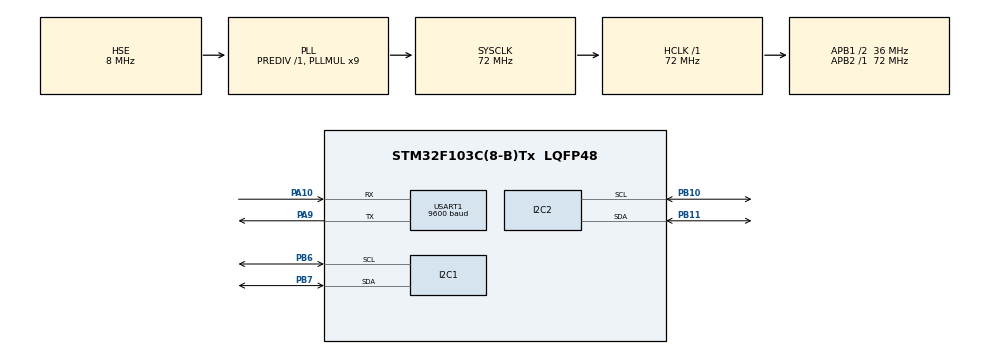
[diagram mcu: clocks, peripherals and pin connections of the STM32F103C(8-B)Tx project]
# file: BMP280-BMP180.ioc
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Mcu.Family=STM32F1
Mcu.Name=STM32F103C(8-B)Tx
Mcu.Package=LQFP48
NVIC.PriorityGroup=NVIC_PRIORITYGROUP_4
PA10.Mode=Asynchronous
PA10.Signal=USART1_RX
PA13.Mode=Serial_Wire
PA13.Signal=SYS_JTMS-SWDIO
PA14.Mode=Serial_Wire
PA14.Signal=SYS_JTCK-SWCLK
PA9.Mode=Asynchronous
PA9.Signal=USART1_TX
PB10.Mode=I2C
PB10.Signal=I2C2_SCL
PB11.Mode=I2C
PB11.Signal=I2C2_SDA
PB6.Mode=I2C
PB6.Signal=I2C1_SCL
PB7.Mode=I2C
PB7.Signal=I2C1_SDA
PD0-OSC_IN.Mode=HSE-External-Oscillator
PD0-OSC_IN.Signal=RCC_OSC_IN
PD1-OSC_OUT.Mode=HSE-External-Oscillator
PD1-OSC_OUT.Signal=RCC_OSC_OUT
ProjectManager.HeapSize=0x200
ProjectManager.StackSize=0x400
ProjectManager.TargetToolchain=MDK-ARM V5
RCC.AHBFreq_Value=72000000
RCC.APB1CLKDivider=RCC_HCLK_DIV2
RCC.APB1Freq_Value=36000000
RCC.APB1TimFreq_Value=72000000
RCC.APB2Freq_Value=72000000
RCC.APB2TimFreq_Value=72000000
RCC.HCLKFreq_Value=72000000
RCC.PLLMUL=RCC_PLL_MUL9
RCC.PLLSourceVirtual=RCC_PLLSOURCE_HSE
RCC.SYSCLKFreq_VALUE=72000000
RCC.SYSCLKSource=RCC_SYSCLKSOURCE_PLLCLK
RCC.USBFreq_Value=72000000
USART1.BaudRate=9600
USART1.VirtualMode=VM_ASYNC
board=custom

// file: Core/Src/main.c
/* USER CODE BEGIN Header */
/**
  ******************************************************************************
  * @file           : main.c
  * @brief          : Main program body
  ******************************************************************************
  * @attention
  *
  * <h2><center>&copy; Copyright (c) 2021 STMicroelectronics.
  * All rights reserved.</center></h2>
  *
  * This software component is licensed by ST under BSD 3-Clause license,
  * the "License"; You may not use this file except in compliance with the
  * License. You may obtain a copy of the License at:
  *                        opensource.org/licenses/BSD-3-Clause
  *
  ******************************************************************************
  */
/* USER CODE END Header */
#include "main.h"

/* USER CODE BEGIN Includes */
#include "string.h"
#include "stdio.h"
#include "bmp280.h"
#include "bmp180.h"
#include "stdlib.h"
#include "math.h"
/* USER CODE END Includes */

/* USER CODE BEGIN PTD */
float altitudeBMP280 ,pressureBMP280, pBMP280, temperatureBMP280, humidityBMP280;

uint16_t size;
uint8_t Data[256];

float temperature;
float pressure;
float altitude;
float a,b,c;
char buf[128] = " ";
/* USER CODE END PTD */

I2C_HandleTypeDef hi2c1;
I2C_HandleTypeDef hi2c2;

UART_HandleTypeDef huart1;

/* USER CODE BEGIN PV */
BMP280_HandleTypedef bmp280;

/* USER CODE END PV */

void SystemClock_Config(void);
static void MX_GPIO_Init(void);
static void MX_I2C1_Init(void);
static void MX_I2C2_Init(void);
static void MX_USART1_UART_Init(void);

int main(void)
{

  /* MCU Configuration--------------------------------------------------------*/

  /* Reset of all peripherals, Initializes the Flash interface and the Systick. */
  HAL_Init();

  /* Configure the system clock */
  SystemClock_Config();

  /* Initialize all configured peripherals */
  MX_GPIO_Init();
  MX_I2C1_Init();
  MX_I2C2_Init();
  MX_USART1_UART_Init();
	BMP180_Start();
  /* USER CODE BEGIN 2 */

	bmp280_init_default_params(&bmp280.params);
	bmp280.addr = BMP280_I2C_ADDRESS_0;
	bmp280.i2c = &hi2c2;

	while (!(bmp280_init(&bmp280, &bmp280.params)))
		{
			size = sprintf((char *)Data, "BMP280 initialization failed\n");
			HAL_UART_Transmit(&huart1, Data, size, 1000);
			HAL_Delay(2000);
		}
	bool bme280p = bmp280.id == BMP280_CHIP_ID;
	size = sprintf((char *)Data, "BMP280: found %s\n", bme280p ? "BME280" : "BMP280");
	HAL_UART_Transmit(&huart1, Data, size, 1000);

  /* USER CODE END 2 */
		for(int i=0;i<10;i++)
		{
     a= BMP180_GetTemp();
		 b= BMP180_GetPress(0);
		 c= BMP180_GetAlt(0);
			HAL_Delay(200);
		}
  /* Infinite loop */
  /* USER CODE BEGIN WHILE */
  while (1)
  {
		temperature=BMP180_GetTemp();
	  pressure=BMP180_GetPress(0);
	  altitude=BMP180_GetAlt(0);
    /* USER CODE END WHILE */
HAL_Delay(100);
		while (!bmp280_read_float(&bmp280, &temperatureBMP280, &pressureBMP280, &humidityBMP280)) {
			size = sprintf((char *)Data,
					"Temperature/pressure reading failed\n");
			HAL_UART_Transmit(&huart1, Data, size, 1000);
			HAL_Delay(2000);
		}
			pBMP280 = pressureBMP280/100;
		 altitudeBMP280 = 44330.0*(1-pow(pBMP280/1013.25, 1/5.255));

		  size = sprintf((char *)Data,"b = %.2f, \n BMP280 \n Pressure: %.2f Pa,\n Altitude: %.2f m,\n Temperature: %.2f C , \n-------------------------------\n BMP180 \n Pressure: %f \n Altitude: %f \n Temprature: %.2f \r\n",c,
				pressureBMP280 , altitudeBMP280,temperatureBMP280, pressure, altitude, temperature);
		//size = sprintf((char *)Data,"\nPressure: %.2f Pa, Temperature: %.2f C \r\n",
		//		pressure, temperature);
		HAL_UART_Transmit(&huart1, Data, size, 1000);
		if (bme280p) {
			//size = sprintf((char *)Data,", Humidity: %.2f\n", humidity);
			//HAL_UART_Transmit(&huart1, Data, size, 1000);
		}

		else {
			size = sprintf((char *)Data, "\n");
			HAL_UART_Transmit(&huart1, Data, size, 1000);
		}
		HAL_Delay(500);
  }
}

void SystemClock_Config(void)
{
  RCC_OscInitTypeDef RCC_OscInitStruct = {0};
  RCC_ClkInitTypeDef RCC_ClkInitStruct = {0};

  /** Initializes the RCC Oscillators according to the specified parameters
  * in the RCC_OscInitTypeDef structure.
  */
  RCC_OscInitStruct.OscillatorType = RCC_OSCILLATORTYPE_HSE;
  RCC_OscInitStruct.HSEState = RCC_HSE_ON;
  RCC_OscInitStruct.HSEPredivValue = RCC_HSE_PREDIV_DIV1;
  RCC_OscInitStruct.HSIState = RCC_HSI_ON;
  RCC_OscInitStruct.PLL.PLLState = RCC_PLL_ON;
  RCC_OscInitStruct.PLL.PLLSource = RCC_PLLSOURCE_HSE;
  RCC_OscInitStruct.PLL.PLLMUL = RCC_PLL_MUL9;
  if (HAL_RCC_OscConfig(&RCC_OscInitStruct) != HAL_OK)
  {
    Error_Handler();
  }
  /** Initializes the CPU, AHB and APB buses clocks
  */
  RCC_ClkInitStruct.ClockType = RCC_CLOCKTYPE_HCLK|RCC_CLOCKTYPE_SYSCLK
                              |RCC_CLOCKTYPE_PCLK1|RCC_CLOCKTYPE_PCLK2;
  RCC_ClkInitStruct.SYSCLKSource = RCC_SYSCLKSOURCE_PLLCLK;
  RCC_ClkInitStruct.AHBCLKDivider = RCC_SYSCLK_DIV1;
  RCC_ClkInitStruct.APB1CLKDivider = RCC_HCLK_DIV2;
  RCC_ClkInitStruct.APB2CLKDivider = RCC_HCLK_DIV1;

  if (HAL_RCC_ClockConfig(&RCC_ClkInitStruct, FLASH_LATENCY_2) != HAL_OK)
  {
    Error_Handler();
  }
}

static void MX_I2C1_Init(void)
{

  hi2c1.Instance = I2C1;
  hi2c1.Init.ClockSpeed = 100000;
  hi2c1.Init.DutyCycle = I2C_DUTYCYCLE_2;
  hi2c1.Init.OwnAddress1 = 0;
  hi2c1.Init.AddressingMode = I2C_ADDRESSINGMODE_7BIT;
  hi2c1.Init.DualAddressMode = I2C_DUALADDRESS_DISABLE;
  hi2c1.Init.OwnAddress2 = 0;
  hi2c1.Init.GeneralCallMode = I2C_GENERALCALL_DISABLE;
  hi2c1.Init.NoStretchMode = I2C_NOSTRETCH_DISABLE;
  if (HAL_I2C_Init(&hi2c1) != HAL_OK)
  {
    Error_Handler();
  }

}

static void MX_I2C2_Init(void)
{

  hi2c2.Instance = I2C2;
  hi2c2.Init.ClockSpeed = 100000;
  hi2c2.Init.DutyCycle = I2C_DUTYCYCLE_2;
  hi2c2.Init.OwnAddress1 = 0;
  hi2c2.Init.AddressingMode = I2C_ADDRESSINGMODE_7BIT;
  hi2c2.Init.DualAddressMode = I2C_DUALADDRESS_DISABLE;
  hi2c2.Init.OwnAddress2 = 0;
  hi2c2.Init.GeneralCallMode = I2C_GENERALCALL_DISABLE;
  hi2c2.Init.NoStretchMode = I2C_NOSTRETCH_DISABLE;
  if (HAL_I2C_Init(&hi2c2) != HAL_OK)
  {
    Error_Handler();
  }

}

static void MX_USART1_UART_Init(void)
{

  huart1.Instance = USART1;
  huart1.Init.BaudRate = 9600;
  huart1.Init.WordLength = UART_WORDLENGTH_8B;
  huart1.Init.StopBits = UART_STOPBITS_1;
  huart1.Init.Parity = UART_PARITY_NONE;
  huart1.Init.Mode = UART_MODE_TX_RX;
  huart1.Init.HwFlowCtl = UART_HWCONTROL_NONE;
  huart1.Init.OverSampling = UART_OVERSAMPLING_16;
  if (HAL_UART_Init(&huart1) != HAL_OK)
  {
    Error_Handler();
  }

}

static void MX_GPIO_Init(void)
{

  /* GPIO Ports Clock Enable */
  __HAL_RCC_GPIOD_CLK_ENABLE();
  __HAL_RCC_GPIOB_CLK_ENABLE();
  __HAL_RCC_GPIOA_CLK_ENABLE();

}

void Error_Handler(void)
{
  __disable_irq();
  while (1)
  {
  }
}

/************************ (C) COPYRIGHT STMicroelectronics *****END OF FILE****/
